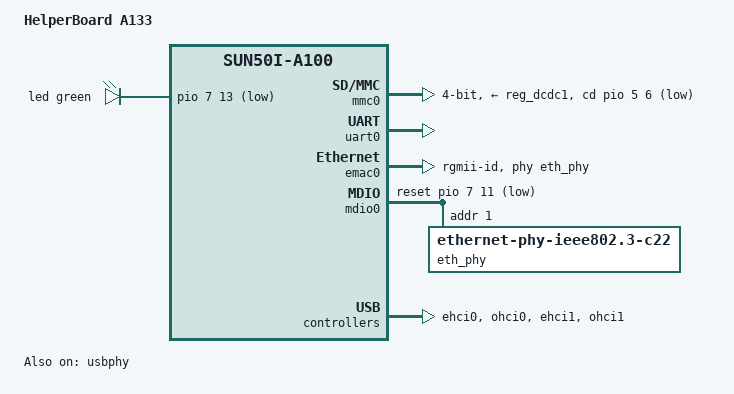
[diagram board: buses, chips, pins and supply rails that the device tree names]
// SPDX-License-Identifier: (GPL-2.0+ OR MIT)
/*
 * Copyright (c) 2025 Arm Ltd.
 */

/dts-v1/;

#include "sun50i-a133-baije-core.dtsi"

#include <dt-bindings/gpio/gpio.h>
#include <dt-bindings/leds/common.h>

/{
	model = "HelperBoard A133";
	compatible = "baijie,helper-a133",
		     "baijie,helper-a133-core",
		     "allwinner,sun50i-a100";

	aliases {
		serial0 = &uart0;
	};

	chosen {
		stdout-path = "serial0:115200n8";
	};

	leds {
		compatible = "gpio-leds";

		led {
			function = LED_FUNCTION_INDICATOR;
			color = <LED_COLOR_ID_GREEN>;
			gpios = <&pio 7 13 GPIO_ACTIVE_LOW>;	/* PH13 */
		};
	};
};

&mmc0 {
	vmmc-supply = <&reg_dcdc1>;
	cd-gpios = <&pio 5 6 GPIO_ACTIVE_LOW>;	/* PF6 */
	bus-width = <4>;
	status = "okay";
};

&uart0 {
	pinctrl-names = "default";
	pinctrl-0 = <&uart0_pb_pins>;
	status = "okay";
};

&rgmii0_pins {
	drive-strength = <30>;
};

&emac0 {
	pinctrl-names = "default";
	pinctrl-0 = <&rgmii0_pins>;
	phy-handle = <&eth_phy>;
	phy-mode = "rgmii-id";
	allwinner,rx-delay-ps = <200>;
	allwinner,tx-delay-ps = <200>;
	status = "okay";
};

&mdio0 {
	reset-gpios = <&pio 7 11 GPIO_ACTIVE_LOW>;	/* PH11 */
	reset-delay-us = <10000>;
	reset-post-delay-us = <150000>;

	eth_phy: ethernet-phy@1 {
		compatible = "ethernet-phy-ieee802.3-c22";
		reg = <1>;
	};
};

&usbphy {
	status = "okay";
};

&ehci0 {
	status = "okay";
};

&ohci0 {
	status = "okay";
};

&ehci1 {
	status = "okay";
};

&ohci1 {
	status = "okay";
};
